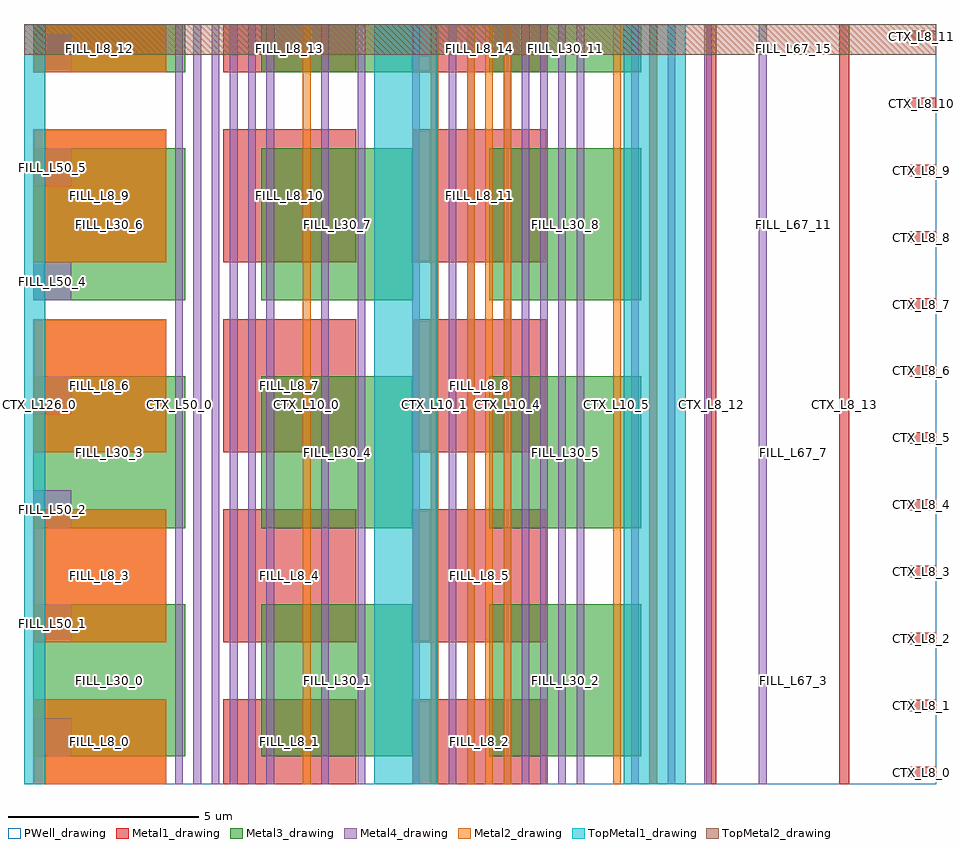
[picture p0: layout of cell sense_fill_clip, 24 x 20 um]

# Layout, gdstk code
import gdstk
lib = gdstk.Library(unit=1e-6, precision=1e-09)
def R(c, l, rs):  # rectangles x0, y0, x1, y1
    for r in rs: c.add(gdstk.rectangle(r[:2], r[2:], *l))
def A(c, l, x, y, w, h, nx, ny, dx, dy):  # array of equal rectangles
    R(c, l, [(x+i*dx, y+j*dy, x+i*dx+w, y+j*dy+h) for i in range(nx) for j in range(ny)])
Metal1_drawing = (8, 0)
Metal2_drawing = (10, 0)
Metal3_drawing = (30, 0)
PWell_drawing = (46, 0)
Metal4_drawing = (50, 0)
TopMetal1_drawing = (126, 0)
TopMetal2_drawing = (134, 0)

sense_fill_clip = lib.new_cell('sense_fill_clip')
A(sense_fill_clip, Metal1_drawing, 720, 701.27, 3.5, 2.23, 3, 1, 5, 0)
A(sense_fill_clip, Metal1_drawing, 743.02, 701.43, 0.74, 0.3, 1, 12, 0, 1.76)
A(sense_fill_clip, Metal1_drawing, 720, 705, 3.5, 3.5, 3, 3, 5, 5)
A(sense_fill_clip, Metal1_drawing, 720, 720, 3.5, 1.27, 3, 1, 5, 0)
R(sense_fill_clip, Metal1_drawing, [(737.72,701.27,737.98,721.27), (741.22,701.27,741.48,721.27)])
A(sense_fill_clip, Metal2_drawing, 731.42, 701.27, 0.2, 20, 3, 1, 0.48, 0)
A(sense_fill_clip, Metal2_drawing, 720, 705, 3.5, 3.5, 1, 3, 0, 5)
R(sense_fill_clip, Metal2_drawing, [(720,701.27,723.5,703.5), (727.1,701.27,727.3,721.27), (730.46,701.27,730.66,721.27), (735.26,701.27,735.46,721.27), (736.22,701.27,736.42,721.27), (720,720,723.5,721.27)])
A(sense_fill_clip, Metal3_drawing, 720, 702, 4, 4, 3, 3, 6, 6)
A(sense_fill_clip, Metal3_drawing, 720, 720, 4, 1.27, 3, 1, 6, 0)
R(sense_fill_clip, PWell_drawing, [(719.76,701.27,743.76,721.27), (719.76,701.27,743.76,721.27)])
A(sense_fill_clip, Metal4_drawing, 723.74, 701.27, 0.2, 20, 6, 1, 0.48, 0)
A(sense_fill_clip, Metal4_drawing, 729.98, 701.27, 0.2, 20, 4, 1, 0.48, 0)
A(sense_fill_clip, Metal4_drawing, 732.38, 701.27, 0.2, 20, 5, 1, 0.48, 0)
A(sense_fill_clip, Metal4_drawing, 735.74, 701.27, 0.2, 20, 3, 1, 0.48, 0)
A(sense_fill_clip, Metal4_drawing, 720, 702, 1, 1, 1, 7, 0, 3)
R(sense_fill_clip, Metal4_drawing, [(727.58,701.27,727.78,721.27), (728.54,701.27,728.74,721.27), (737.66,701.27,737.86,721.27), (739.1,701.27,739.3,721.27)])
R(sense_fill_clip, TopMetal1_drawing, [(719.76,701.27,720.32,721.27), (728.98,701.27,730.62,721.27), (735.54,701.27,737.18,721.27)])
R(sense_fill_clip, TopMetal2_drawing, [(719.76,720.46,743.76,721.27)])
sense_fill_clip.add(gdstk.Label('CTX_L8_7', (743.39,713.9), layer=8, texttype=25))
sense_fill_clip.add(gdstk.Label('CTX_L8_9', (743.39,717.42), layer=8, texttype=25))
sense_fill_clip.add(gdstk.Label('CTX_L8_10', (743.39,719.18), layer=8, texttype=25))
sense_fill_clip.add(gdstk.Label('CTX_L8_11', (743.39,720.94), layer=8, texttype=25))
sense_fill_clip.add(gdstk.Label('FILL_L8_8', (731.75,711.75), layer=8, texttype=25))
sense_fill_clip.add(gdstk.Label('FILL_L8_7', (726.75,711.75), layer=8, texttype=25))
sense_fill_clip.add(gdstk.Label('FILL_L8_6', (721.75,711.75), layer=8, texttype=25))
sense_fill_clip.add(gdstk.Label('CTX_L8_4', (743.39,708.62), layer=8, texttype=25))
sense_fill_clip.add(gdstk.Label('FILL_L8_3', (721.75,706.75), layer=8, texttype=25))
sense_fill_clip.add(gdstk.Label('CTX_L8_8', (743.39,715.66), layer=8, texttype=25))
sense_fill_clip.add(gdstk.Label('FILL_L8_0', (721.75,702.385), layer=8, texttype=25))
sense_fill_clip.add(gdstk.Label('FILL_L8_5', (731.75,706.75), layer=8, texttype=25))
sense_fill_clip.add(gdstk.Label('FILL_L8_4', (726.75,706.75), layer=8, texttype=25))
sense_fill_clip.add(gdstk.Label('CTX_L8_6', (743.39,712.14), layer=8, texttype=25))
sense_fill_clip.add(gdstk.Label('CTX_L8_5', (743.39,710.38), layer=8, texttype=25))
sense_fill_clip.add(gdstk.Label('FILL_L8_9', (721.75,716.75), layer=8, texttype=25))
sense_fill_clip.add(gdstk.Label('FILL_L8_2', (731.75,702.385), layer=8, texttype=25))
sense_fill_clip.add(gdstk.Label('FILL_L8_14', (731.75,720.635), layer=8, texttype=25))
sense_fill_clip.add(gdstk.Label('FILL_L8_10', (726.75,716.75), layer=8, texttype=25))
sense_fill_clip.add(gdstk.Label('CTX_L8_0', (743.39,701.58), layer=8, texttype=25))
sense_fill_clip.add(gdstk.Label('CTX_L8_1', (743.39,703.34), layer=8, texttype=25))
sense_fill_clip.add(gdstk.Label('CTX_L8_2', (743.39,705.1), layer=8, texttype=25))
sense_fill_clip.add(gdstk.Label('CTX_L8_3', (743.39,706.86), layer=8, texttype=25))
sense_fill_clip.add(gdstk.Label('FILL_L8_11', (731.75,716.75), layer=8, texttype=25))
sense_fill_clip.add(gdstk.Label('CTX_L8_12', (737.85,711.27), layer=8, texttype=25))
sense_fill_clip.add(gdstk.Label('FILL_L8_13', (726.75,720.635), layer=8, texttype=25))
sense_fill_clip.add(gdstk.Label('FILL_L8_12', (721.75,720.635), layer=8, texttype=25))
sense_fill_clip.add(gdstk.Label('FILL_L8_1', (726.75,702.385), layer=8, texttype=25))
sense_fill_clip.add(gdstk.Label('CTX_L8_13', (741.35,711.27), layer=8, texttype=25))
sense_fill_clip.add(gdstk.Label('FILL_L10_2', (721.75,711.75), layer=10, texttype=25))
sense_fill_clip.add(gdstk.Label('FILL_L10_3', (721.75,716.75), layer=10, texttype=25))
sense_fill_clip.add(gdstk.Label('CTX_L10_5', (735.36,711.27), layer=10, texttype=25))
sense_fill_clip.add(gdstk.Label('CTX_L10_4', (732.48,711.27), layer=10, texttype=25))
sense_fill_clip.add(gdstk.Label('P', (732,711.27), layer=10, texttype=25))
sense_fill_clip.add(gdstk.Label('N', (731.52,711.27), layer=10, texttype=25))
sense_fill_clip.add(gdstk.Label('CTX_L10_1', (730.56,711.27), layer=10, texttype=25))
sense_fill_clip.add(gdstk.Label('FILL_L10_4', (721.75,720.635), layer=10, texttype=25))
sense_fill_clip.add(gdstk.Label('CTX_L10_6', (736.32,711.27), layer=10, texttype=25))
sense_fill_clip.add(gdstk.Label('CTX_L10_0', (727.2,711.27), layer=10, texttype=25))
sense_fill_clip.add(gdstk.Label('FILL_L10_0', (721.75,702.385), layer=10, texttype=25))
sense_fill_clip.add(gdstk.Label('FILL_L10_1', (721.75,706.75), layer=10, texttype=25))
sense_fill_clip.add(gdstk.Label('FILL_L30_10', (728,720.635), layer=30, texttype=25))
sense_fill_clip.add(gdstk.Label('FILL_L30_7', (728,716), layer=30, texttype=25))
sense_fill_clip.add(gdstk.Label('FILL_L30_11', (734,720.635), layer=30, texttype=25))
sense_fill_clip.add(gdstk.Label('FILL_L30_8', (734,716), layer=30, texttype=25))
sense_fill_clip.add(gdstk.Label('FILL_L30_9', (722,720.635), layer=30, texttype=25))
sense_fill_clip.add(gdstk.Label('FILL_L30_6', (722,716), layer=30, texttype=25))
sense_fill_clip.add(gdstk.Label('FILL_L30_5', (734,710), layer=30, texttype=25))
sense_fill_clip.add(gdstk.Label('FILL_L30_2', (734,704), layer=30, texttype=25))
sense_fill_clip.add(gdstk.Label('FILL_L30_4', (728,710), layer=30, texttype=25))
sense_fill_clip.add(gdstk.Label('FILL_L30_3', (722,710), layer=30, texttype=25))
sense_fill_clip.add(gdstk.Label('FILL_L30_1', (728,704), layer=30, texttype=25))
sense_fill_clip.add(gdstk.Label('FILL_L30_0', (722,704), layer=30, texttype=25))
sense_fill_clip.add(gdstk.Label('FILL_L50_4', (720.5,714.5), layer=50, texttype=25))
sense_fill_clip.add(gdstk.Label('CTX_L50_19', (736.8,711.27), layer=50, texttype=25))
sense_fill_clip.add(gdstk.Label('CTX_L50_18', (736.32,711.27), layer=50, texttype=25))
sense_fill_clip.add(gdstk.Label('CTX_L50_17', (735.84,711.27), layer=50, texttype=25))
sense_fill_clip.add(gdstk.Label('CTX_L50_21', (739.2,711.27), layer=50, texttype=25))
sense_fill_clip.add(gdstk.Label('CTX_L50_16', (734.4,711.27), layer=50, texttype=25))
sense_fill_clip.add(gdstk.Label('CTX_L50_15', (733.92,711.27), layer=50, texttype=25))
sense_fill_clip.add(gdstk.Label('FILL_L50_6', (720.5,720.5), layer=50, texttype=25))
sense_fill_clip.add(gdstk.Label('FILL_L50_5', (720.5,717.5), layer=50, texttype=25))
sense_fill_clip.add(gdstk.Label('CTX_L50_14', (733.44,711.27), layer=50, texttype=25))
sense_fill_clip.add(gdstk.Label('CTX_L50_13', (732.96,711.27), layer=50, texttype=25))
sense_fill_clip.add(gdstk.Label('CTX_L50_12', (732.48,711.27), layer=50, texttype=25))
sense_fill_clip.add(gdstk.Label('CTX_L50_20', (737.76,711.27), layer=50, texttype=25))
sense_fill_clip.add(gdstk.Label('CTX_L50_11', (731.52,711.27), layer=50, texttype=25))
sense_fill_clip.add(gdstk.Label('FILL_L50_3', (720.5,711.5), layer=50, texttype=25))
sense_fill_clip.add(gdstk.Label('CTX_L50_10', (731.04,711.27), layer=50, texttype=25))
sense_fill_clip.add(gdstk.Label('CTX_L50_5', (726.24,711.27), layer=50, texttype=25))
sense_fill_clip.add(gdstk.Label('CTX_L50_0', (723.84,711.27), layer=50, texttype=25))
sense_fill_clip.add(gdstk.Label('CTX_L50_1', (724.32,711.27), layer=50, texttype=25))
sense_fill_clip.add(gdstk.Label('FILL_L50_1', (720.5,705.5), layer=50, texttype=25))
sense_fill_clip.add(gdstk.Label('CTX_L50_2', (724.8,711.27), layer=50, texttype=25))
sense_fill_clip.add(gdstk.Label('CTX_L50_3', (725.28,711.27), layer=50, texttype=25))
sense_fill_clip.add(gdstk.Label('CTX_L50_6', (727.68,711.27), layer=50, texttype=25))
sense_fill_clip.add(gdstk.Label('CTX_L50_4', (725.76,711.27), layer=50, texttype=25))
sense_fill_clip.add(gdstk.Label('FILL_L50_0', (720.5,702.5), layer=50, texttype=25))
sense_fill_clip.add(gdstk.Label('CTX_L50_8', (730.08,711.27), layer=50, texttype=25))
sense_fill_clip.add(gdstk.Label('CTX_L50_7', (728.64,711.27), layer=50, texttype=25))
sense_fill_clip.add(gdstk.Label('FILL_L50_2', (720.5,708.5), layer=50, texttype=25))
sense_fill_clip.add(gdstk.Label('CTX_L50_9', (730.56,711.27), layer=50, texttype=25))
sense_fill_clip.add(gdstk.Label('FILL_L67_15', (740,720.635), layer=67, texttype=25))
sense_fill_clip.add(gdstk.Label('FILL_L67_14', (734,720.635), layer=67, texttype=25))
sense_fill_clip.add(gdstk.Label('FILL_L67_0', (722,704), layer=67, texttype=25))
sense_fill_clip.add(gdstk.Label('FILL_L67_1', (728,704), layer=67, texttype=25))
sense_fill_clip.add(gdstk.Label('FILL_L67_3', (740,704), layer=67, texttype=25))
sense_fill_clip.add(gdstk.Label('FILL_L67_13', (728,720.635), layer=67, texttype=25))
sense_fill_clip.add(gdstk.Label('FILL_L67_11', (740,716), layer=67, texttype=25))
sense_fill_clip.add(gdstk.Label('FILL_L67_2', (734,704), layer=67, texttype=25))
sense_fill_clip.add(gdstk.Label('FILL_L67_4', (722,710), layer=67, texttype=25))
sense_fill_clip.add(gdstk.Label('FILL_L67_7', (740,710), layer=67, texttype=25))
sense_fill_clip.add(gdstk.Label('FILL_L67_10', (734,716), layer=67, texttype=25))
sense_fill_clip.add(gdstk.Label('FILL_L67_12', (722,720.635), layer=67, texttype=25))
sense_fill_clip.add(gdstk.Label('FILL_L67_5', (728,710), layer=67, texttype=25))
sense_fill_clip.add(gdstk.Label('FILL_L67_9', (728,716), layer=67, texttype=25))
sense_fill_clip.add(gdstk.Label('FILL_L67_6', (734,710), layer=67, texttype=25))
sense_fill_clip.add(gdstk.Label('FILL_L67_8', (722,716), layer=67, texttype=25))
sense_fill_clip.add(gdstk.Label('CTX_L126_2', (736.36,711.27), layer=126, texttype=25))
sense_fill_clip.add(gdstk.Label('CTX_L126_1', (729.8,711.27), layer=126, texttype=25))
sense_fill_clip.add(gdstk.Label('CTX_L126_0', (720.04,711.27), layer=126, texttype=25))
sense_fill_clip.add(gdstk.Label('CTX_L134_0', (731.76,720.865), layer=134, texttype=25))

lib.write_gds('sense_fill_clip.gds')
